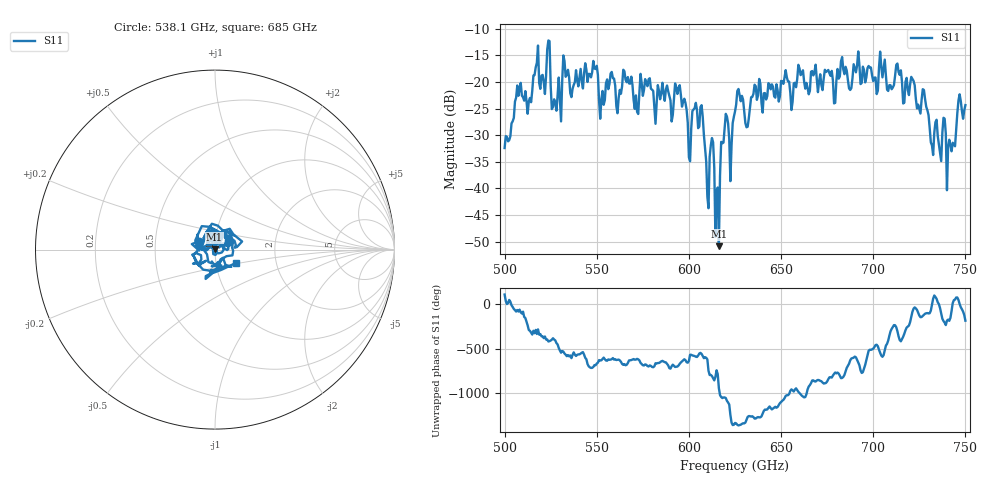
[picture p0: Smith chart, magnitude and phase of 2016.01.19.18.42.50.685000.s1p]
!Created with skrf (http://scikit-rf.org).
# GHz S RI R 50.0
!freq ReS11 ImS11
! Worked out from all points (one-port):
!   401 points, 500 GHz to 750 GHz, reference 50 ohm
!   lowest |S11| = -50.8 dB at 616.2 GHz (marker M1), VSWR 1.01, Z = 49.8 + j0.189 ohm
!   |S11| at or under -10 dB: start of sweep to end of sweep
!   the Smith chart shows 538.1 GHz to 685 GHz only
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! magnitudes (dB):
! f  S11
! 500 GHz  -32.4
! 507.5 GHz  -22.6
! 513.8 GHz  -23.0
! 516.9 GHz  -17.2
! 520.6 GHz  -18.7
! 523.8 GHz  -12.2
! 526.9 GHz  -23.3
! 531.2 GHz  -19.7
! 548.8 GHz  -17.5
! 552.5 GHz  -23.3
! 558.1 GHz  -18.1
! 562.5 GHz  -21.5
! 593.8 GHz  -22.2
! 600 GHz  -34.2
! 606.9 GHz  -24.4
! 609.4 GHz  -34.9
! 612.5 GHz  -30.5
! 615 GHz  -40.5
! 616.2 GHz  -50.8
! 618.8 GHz  -31.4
! 623.1 GHz  -31.9
! 625 GHz  -25.6
! 656.2 GHz  -23.7
! 660.6 GHz  -18.7
! 687.5 GHz  -21.5
! 718.8 GHz  -21.5
! 741.2 GHz  -30.8
! 750 GHz  -24.3
